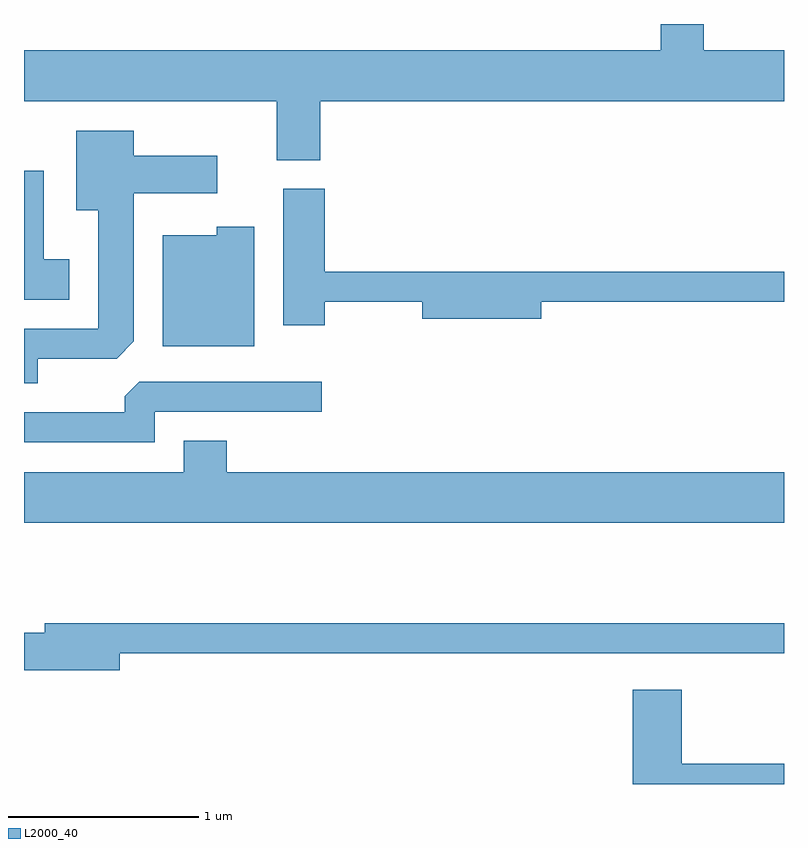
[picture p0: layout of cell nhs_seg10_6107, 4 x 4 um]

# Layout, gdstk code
import gdstk
lib = gdstk.Library(unit=1e-6, precision=1e-09)
def P(c, l, *ps):  # polygons
    for p in ps: c.add(gdstk.Polygon(p, *l))
L2000_40 = (2000, 40)

nhs_seg10_6107 = lib.new_cell('nhs_seg10_6107')
P(nhs_seg10_6107, L2000_40, [(367.169,2136.116),(369.611,2136.116),(369.611,2136.384),(369.189,2136.384),(369.189,2136.522),(368.961,2136.522),(368.961,2136.384),(365.611,2136.384),(365.611,2136.116),(366.941,2136.116),(366.941,2135.806),(367.169,2135.806)],
  [(365.684,2134.761),(366.099,2134.761),(366.189,2134.852),(366.189,2135.631),(366.629,2135.631),(366.629,2135.829),(366.189,2135.829),(366.189,2135.959),(365.886,2135.959),(365.886,2135.541),(366.001,2135.541),(366.001,2134.919),(365.611,2134.919),(365.611,2134.631),(365.684,2134.631)],
  [(365.849,2135.284),(365.714,2135.284),(365.714,2135.749),(365.611,2135.749),(365.611,2135.071),(365.849,2135.071)],
  [(367.194,2135.061),(367.706,2135.061),(367.706,2134.971),(368.334,2134.971),(368.334,2135.061),(369.611,2135.061),(369.611,2135.219),(367.194,2135.219),(367.194,2135.654),(366.976,2135.654),(366.976,2134.936),(367.194,2134.936)],
  [(366.824,2135.454),(366.626,2135.454),(366.626,2135.409),(366.341,2135.409),(366.341,2134.826),(366.824,2134.826)],
  [(366.299,2134.481),(367.178,2134.481),(367.178,2134.639),(366.217,2134.639),(366.141,2134.564),(366.141,2134.479),(365.611,2134.479),(365.611,2134.321),(366.299,2134.321)],
  [(369.611,2134.164),(366.679,2134.164),(366.679,2134.329),(366.451,2134.329),(366.451,2134.164),(365.611,2134.164),(365.611,2133.896),(369.611,2133.896)],
  [(366.114,2133.211),(369.611,2133.211),(369.611,2133.369),(365.721,2133.369),(365.721,2133.319),(365.611,2133.319),(365.611,2133.121),(366.114,2133.121)],
  [(369.611,2132.629),(369.074,2132.629),(369.074,2133.019),(368.816,2133.019),(368.816,2132.522),(369.611,2132.522)])

lib.write_gds('nhs_seg10_6107.gds')
